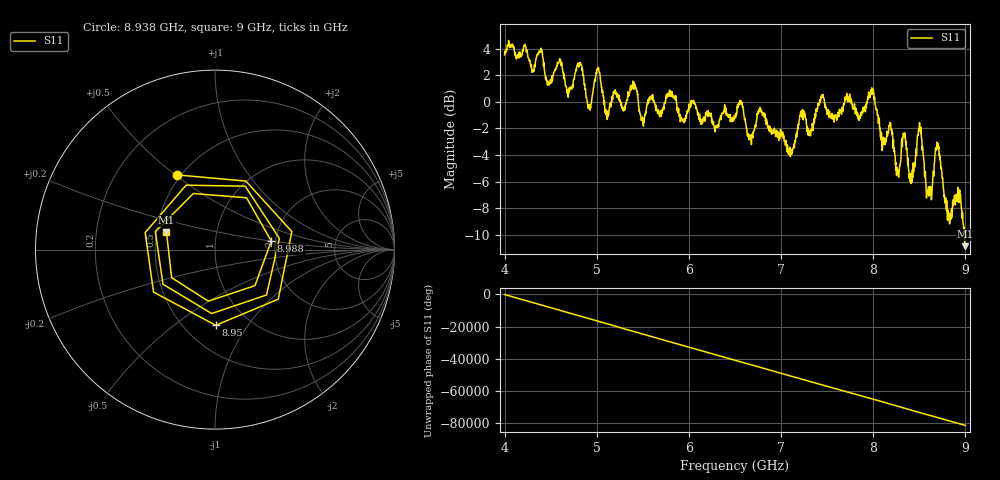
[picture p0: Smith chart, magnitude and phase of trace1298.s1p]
! Created with skrf 1.8.0 (http://scikit-rf.org).
# Hz S RI R 50.0
!freq ReS11 ImS11
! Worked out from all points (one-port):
!   1601 points, 4 GHz to 9 GHz, reference 50 ohm
!   lowest |S11| = -10.9 dB at 9 GHz (marker M1), VSWR 1.80, Z = 28.3 + j5.9 ohm
!   |S11| at or under -10 dB: 8.988146 GHz to end of sweep
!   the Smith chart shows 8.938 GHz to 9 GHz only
!   S11 on the Smith chart (normalised r, x): 8.938 GHz: 0.48, +0.51; 8.95 GHz: 0.70, -0.72; 8.988 GHz: 1.90, +0.20; 9 GHz: 0.57, +0.12
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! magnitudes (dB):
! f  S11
! 4 GHz  3.5
! 4.625 GHz  2.6
! 4.7 GHz  0.7
! 4.819 GHz  3.0
! 4.916 GHz  -0.3
! 5.012 GHz  2.5
! 5.112 GHz  -1.3
! 5.25 GHz  0.2
! 5.875 GHz  -0.4
! 6.5 GHz  -1.1
! 7.125 GHz  -3.5
! 7.228 GHz  -1.2
! 7.306 GHz  -2.5
! 7.444 GHz  0.5
! 7.75 GHz  0.3
! 7.991 GHz  0.9
! 8.262 GHz  -5.4
! 8.331 GHz  -2.5
! 8.375 GHz  -4.8
! 8.416 GHz  -5.3
! 8.503 GHz  -1.6
! 8.6 GHz  -6.4
! 8.694 GHz  -3.0
! 8.819 GHz  -8.3
! 8.938 GHz  -6.6
! 8.95 GHz  -7.5
! 8.988 GHz  -10.0
! 9 GHz  -10.9
